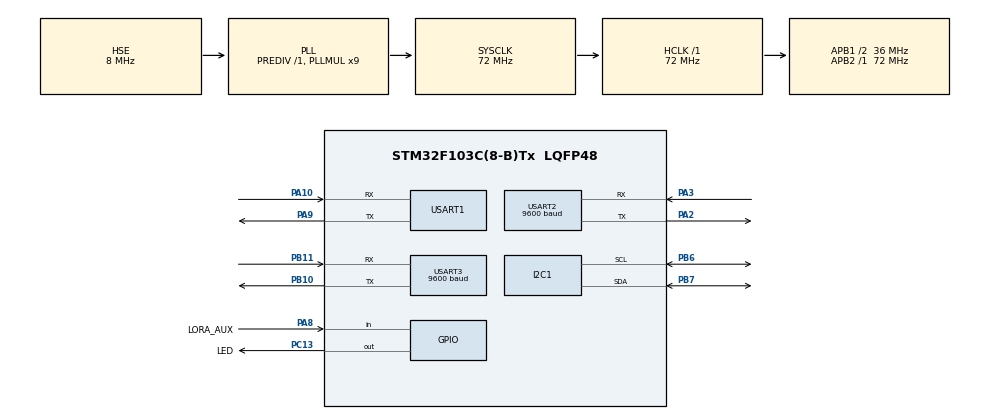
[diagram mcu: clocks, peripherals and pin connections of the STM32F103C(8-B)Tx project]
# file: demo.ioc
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Mcu.Family=STM32F1
Mcu.Name=STM32F103C(8-B)Tx
Mcu.Package=LQFP48
NVIC.PriorityGroup=NVIC_PRIORITYGROUP_4
NVIC.RTC_Alarm_IRQn=true\:0\:0\:false\:false\:true\:true\:true\:true
NVIC.USART2_IRQn=true\:0\:0\:false\:false\:true\:true\:true\:true
NVIC.USART3_IRQn=true\:0\:0\:false\:false\:true\:true\:true\:true
PA10.Mode=Asynchronous
PA10.Signal=USART1_RX
PA13.Mode=Serial_Wire
PA13.Signal=SYS_JTMS-SWDIO
PA14.Mode=Serial_Wire
PA14.Signal=SYS_JTCK-SWCLK
PA2.Mode=Asynchronous
PA2.Signal=USART2_TX
PA3.Mode=Asynchronous
PA3.Signal=USART2_RX
PA8.GPIO_Label=LORA_AUX
PA8.GPIO_PuPd=GPIO_PULLUP
PA8.Signal=GPIO_Input
PA9.Mode=Asynchronous
PA9.Signal=USART1_TX
PB10.Mode=Asynchronous
PB10.Signal=USART3_TX
PB11.Mode=Asynchronous
PB11.Signal=USART3_RX
PB6.Mode=I2C
PB6.Signal=I2C1_SCL
PB7.Mode=I2C
PB7.Signal=I2C1_SDA
PC13-TAMPER-RTC.GPIO_Label=LED
PC13-TAMPER-RTC.Signal=GPIO_Output
PC14-OSC32_IN.Mode=LSE-External-Oscillator
PC14-OSC32_IN.Signal=RCC_OSC32_IN
PC15-OSC32_OUT.Mode=LSE-External-Oscillator
PC15-OSC32_OUT.Signal=RCC_OSC32_OUT
PD0-OSC_IN.Mode=HSE-External-Oscillator
PD0-OSC_IN.Signal=RCC_OSC_IN
PD1-OSC_OUT.Mode=HSE-External-Oscillator
PD1-OSC_OUT.Signal=RCC_OSC_OUT
ProjectManager.HeapSize=0x200
ProjectManager.StackSize=0x400
ProjectManager.TargetToolchain=MDK-ARM V5.27
RCC.AHBFreq_Value=72000000
RCC.APB1CLKDivider=RCC_HCLK_DIV2
RCC.APB1Freq_Value=36000000
RCC.APB1TimFreq_Value=72000000
RCC.APB2Freq_Value=72000000
RCC.APB2TimFreq_Value=72000000
RCC.HCLKFreq_Value=72000000
RCC.PLLMUL=RCC_PLL_MUL9
RCC.PLLSourceVirtual=RCC_PLLSOURCE_HSE
RCC.RTCClockSelection=RCC_RTCCLKSOURCE_LSE
RCC.SYSCLKFreq_VALUE=72000000
RCC.SYSCLKSource=RCC_SYSCLKSOURCE_PLLCLK
RCC.USBFreq_Value=72000000
USART1.VirtualMode=VM_ASYNC
USART2.BaudRate=9600
USART2.VirtualMode=VM_ASYNC
USART3.BaudRate=9600
USART3.VirtualMode=VM_ASYNC
VP_RTC_VS_RTC_Activate.Mode=RTC_Enabled
VP_RTC_VS_RTC_Calendar.Mode=RTC_Calendar
board=custom

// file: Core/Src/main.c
/* USER CODE BEGIN Header */

/**
  ******************************************************************************
  * @file           : main.c
  * @brief          : Main program body
  ******************************************************************************
  * @attention
  *
  * Copyright (c) 2026 STMicroelectronics.
  * All rights reserved.
  *
  * This software is licensed under terms that can be found in the LICENSE file
  * in the root directory of this software component.
  * If no LICENSE file comes with this software, it is provided AS-IS.
  *
  ******************************************************************************
  */
/* USER CODE END Header */
#include "main.h"
#include "i2c.h"
#include "rtc.h"
#include "usart.h"
#include "gpio.h"

/* USER CODE BEGIN Includes */
#include "stdio.h"
#include "string.h"
#include <mpu6050.h>
#include "rtk.h"
#include "aht20.h"
#include "bmp280.h"
#include "lora.h"

/* USER CODE END Includes */

/* USER CODE BEGIN PV */

uint32_t timer_10ms = 0;      // 计时器变量
MPU6050_Data_t myData = {0};   // 传感器数据结构体
MPU6050_PrintMode_t currentMode = MPU6050_MODE_ANGLES; // 默认看角度

AHT20_Data_t ahtData;
BMP280_Data_t bmpData;
uint32_t weather_timer = 0;

uint8_t uart1_rx_byte[1];
// uint8_t uart2_rx_byte[1];  // 已废弃, RTK 使用自有缓冲区
uint8_t uart3_rx_byte[1];

// 添加 LoRa 发送定时器
uint32_t lora_tx_timer = 0;

/* USER CODE END PV */

void SystemClock_Config(void);

/* USER CODE BEGIN 0 */

/**
  * @brief 重定向 printf 到 UART1
  */
int fputc(int ch, FILE *f)
{
  /* 通过 HAL 库发送一个字节的数据到 UART1 */
  /* 设置超时时间为 0xFFFF，确保数据发送完成 */
  HAL_UART_Transmit(&huart1, (uint8_t *)&ch, 1, 0xFFFF);

  return ch;
}

/**
 *	@breif CRC16 校验算法
 */
uint16_t Calculate_CRC16(uint8_t *ptr, uint16_t len) {
    uint16_t crc = 0xFFFF;
    for (uint16_t i = 0; i < len; i++) {
        crc ^= ptr[i];
        for (uint8_t j = 0; j < 8; j++) {
            if (crc & 0x0001) {
                crc >>= 1;
                crc ^= 0xA001; // MODBUS 多项式
            } else {
                crc >>= 1;
            }
        }
    }
    return crc;
}

/* USER CODE END 0 */

int main(void)
{

  /* MCU Configuration--------------------------------------------------------*/

  /* Reset of all peripherals, Initializes the Flash interface and the Systick. */
  HAL_Init();

  /* Configure the system clock */
  SystemClock_Config();

  /* Initialize all configured peripherals */
  MX_GPIO_Init();
  MX_USART1_UART_Init();
  MX_USART2_UART_Init();
  MX_I2C1_Init();
  MX_USART3_UART_Init();
  MX_RTC_Init();
  /* USER CODE BEGIN 2 */

	// 初始化 MPU6050
	HAL_Delay(500);
	if(MPU6050_Init(&hi2c1) == 0){
		printf("mpu6050 init success!\r\n");
	} else {
		printf("mpu6050 init failed!\r\n");
	}

	// 初始化 BMP280
	if(BMP280_Init(&hi2c1) == 0){
		printf("BMP280 init success!\r\n");
	} else {
		printf("BMP280 init failed!\r\n");
	}

	// 初始化 AHT20
	if(AHT20_Init(&hi2c1) == 0){
		printf("AHT20 init success!\r\n");
	} else {
		printf("AHT20 init failed!\r\n");
	}
	HAL_Delay(500);

		// 初始化 RTK (UM982)
	RTK_Init();

	uint32_t sensor_tick = 0;
	uint32_t lora_send_tick = 0;
	LoRa_Packet_t tx_packet; // 定义一个发送数据包实例
	char * str = "aaaa";
  /* USER CODE END 2 */

  /* Infinite loop */
  while (1)
  {

    /* USER CODE BEGIN 3 */

				/* 1. RTK 异步解析（必须实时调用） */
    RTK_Process();

#if 1

    /* 2. 定时任务：每 500ms 采集一次数据并打印 */
    if (HAL_GetTick() - sensor_tick >= 20)
    {
        sensor_tick = HAL_GetTick();
        // --- 采集 MPU6050 ---
        // 使用互补滤波模式获取平滑的角度
        MPU6050_Read_All(&hi2c1, &myData);
        // --- 采集 AHT20 ---
        AHT20_Read(&hi2c1, &ahtData);
#if 1

        // --- 串口打印输出 ---
        printf("\r\n====== Sensor Data ======\r\n");

        // 打印环境温湿度 (来自 AHT20)
        printf("[AHT20] Temp: %.1f C, Hum: %.1f%%\r\n", ahtData.Temperature, ahtData.Humidity);

        // 打印姿态角 (来自 MPU6050)
        printf("[MPU6050] Pitch: %.2f, Roll: %.2f\r\n", myData.Pitch, myData.Roll);

				//
        // RTK 的打印已经在 RTK_Process() 内部通过 printf 实现了
        printf("=========================\r\n");
#endif

#if 1

				printf("%.2f,%.2f,%.2f,%.2f,%.2f,%.2f\r\n",
										myData.Accel_X,
										myData.Accel_Y,
										myData.Accel_Z,
										myData.Gyro_X,
										myData.Gyro_Y,
										myData.Gyro_Z
										);
#endif

    }
#endif

		/* --- LoRa 发送处理逻辑 --- */
		// 每 3000ms (3秒) 通过 LoRa 发送一次全量数据

		if (HAL_GetTick() - lora_send_tick >= 2000) {
				lora_send_tick = HAL_GetTick();

				// 1. 采集数据 (确保使用 Read_All 获取原始 XYZ)
				AHT20_Read(&hi2c1, &ahtData);
				MPU6050_Read_All(&hi2c1, &myData); // 确保读取了 Accel_X 等原始值

				// 2. 填充结构体
				tx_packet.temperature = ahtData.Temperature;
				tx_packet.humidity = ahtData.Humidity;
				tx_packet.acc_x = myData.Accel_X;
				tx_packet.acc_y = myData.Accel_Y;
				tx_packet.acc_z = myData.Accel_Z;
				tx_packet.gyro_x = myData.Gyro_X;
				tx_packet.gyro_y = myData.Gyro_Y;
				tx_packet.gyro_z = myData.Gyro_Z;
								tx_packet.latitude    = (float)g_rtkData.latitude;
								tx_packet.longitude   = (float)g_rtkData.longitude;
								tx_packet.altitude    = g_rtkData.altitude;
								tx_packet.hdop        = g_rtkData.hdop;
								tx_packet.fix_type    = (uint8_t)g_rtkData.fix_type;
								tx_packet.satellites  = g_rtkData.satellites;

				// VOFA+ JustFloat 帧尾固定值
				tx_packet.tail = 0x7F800000;

								// 3. 计算 CRC (覆盖 crc16 之前的所有数据)
				tx_packet.crc16 = Calculate_CRC16((uint8_t*)&tx_packet, LORA_DATA_SIZE);

				// 发送整个结构体
				LoRa_Send((uint8_t*)&tx_packet, LORA_PACKET_SIZE);

				printf("[System] binary databag sended (%d bytes)\r\n", LORA_PACKET_SIZE);
		}
	}
  /* USER CODE END 3 */
}

void SystemClock_Config(void)
{
  RCC_OscInitTypeDef RCC_OscInitStruct = {0};
  RCC_ClkInitTypeDef RCC_ClkInitStruct = {0};
  RCC_PeriphCLKInitTypeDef PeriphClkInit = {0};

  /** Initializes the RCC Oscillators according to the specified parameters
  * in the RCC_OscInitTypeDef structure.
  */
  RCC_OscInitStruct.OscillatorType = RCC_OSCILLATORTYPE_HSE|RCC_OSCILLATORTYPE_LSE;
  RCC_OscInitStruct.HSEState = RCC_HSE_ON;
  RCC_OscInitStruct.HSEPredivValue = RCC_HSE_PREDIV_DIV1;
  RCC_OscInitStruct.LSEState = RCC_LSE_ON;
  RCC_OscInitStruct.HSIState = RCC_HSI_ON;
  RCC_OscInitStruct.PLL.PLLState = RCC_PLL_ON;
  RCC_OscInitStruct.PLL.PLLSource = RCC_PLLSOURCE_HSE;
  RCC_OscInitStruct.PLL.PLLMUL = RCC_PLL_MUL9;
  if (HAL_RCC_OscConfig(&RCC_OscInitStruct) != HAL_OK)
  {
    Error_Handler();
  }

  /** Initializes the CPU, AHB and APB buses clocks
  */
  RCC_ClkInitStruct.ClockType = RCC_CLOCKTYPE_HCLK|RCC_CLOCKTYPE_SYSCLK
                              |RCC_CLOCKTYPE_PCLK1|RCC_CLOCKTYPE_PCLK2;
  RCC_ClkInitStruct.SYSCLKSource = RCC_SYSCLKSOURCE_PLLCLK;
  RCC_ClkInitStruct.AHBCLKDivider = RCC_SYSCLK_DIV1;
  RCC_ClkInitStruct.APB1CLKDivider = RCC_HCLK_DIV2;
  RCC_ClkInitStruct.APB2CLKDivider = RCC_HCLK_DIV1;

  if (HAL_RCC_ClockConfig(&RCC_ClkInitStruct, FLASH_LATENCY_2) != HAL_OK)
  {
    Error_Handler();
  }
  PeriphClkInit.PeriphClockSelection = RCC_PERIPHCLK_RTC;
  PeriphClkInit.RTCClockSelection = RCC_RTCCLKSOURCE_LSE;
  if (HAL_RCCEx_PeriphCLKConfig(&PeriphClkInit) != HAL_OK)
  {
    Error_Handler();
  }
}

/* USER CODE BEGIN 4 */
void HAL_UART_RxCpltCallback(UART_HandleTypeDef *huart)
{
		if(huart->Instance == USART1){
			HAL_UART_Transmit(&huart3, uart1_rx_byte, 1, 10);
			HAL_UART_Receive_IT(&huart1, uart1_rx_byte, 1);
				} else if (huart->Instance == USART2){
			// RTK (UM982) 数据接收
			RTK_RxCallback(huart);
		} else if (huart->Instance == USART3){
			HAL_UART_Transmit(&huart1, uart3_rx_byte, 1, 10);
			HAL_UART_Receive_IT(&huart3, uart3_rx_byte, 1);
		}

}
/* USER CODE END 4 */

void Error_Handler(void)
{
  __disable_irq();
  while (1)
  {
  }
}
